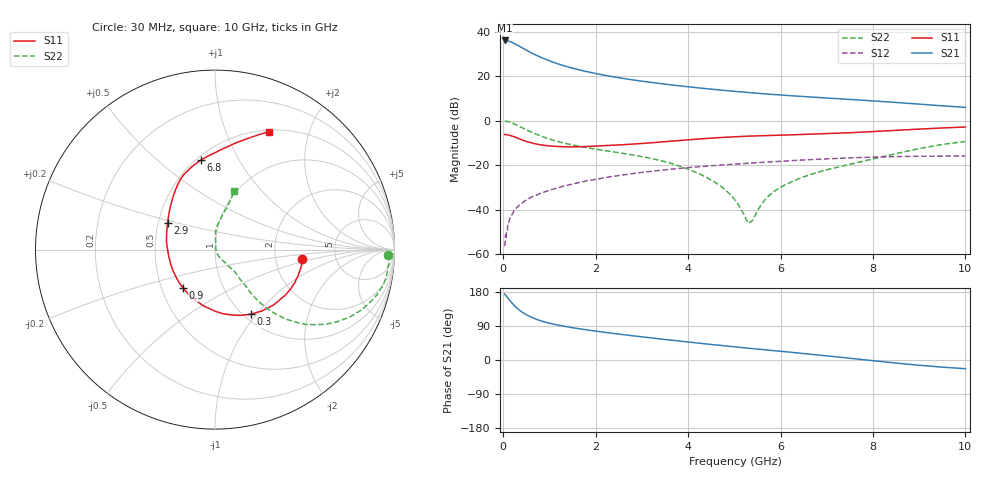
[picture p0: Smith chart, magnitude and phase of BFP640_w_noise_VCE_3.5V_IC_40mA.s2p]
! (c) 2013  Infineon Technologies AG, Munich
! Infineon Technologies  Discrete & RF Semiconductors
! BFP640
! VCE =  3.5 V,  IC =  40 mA
! Common Emitter S-Parameters:  Apr 2013
# GHz  S  MA  R  50
!  f  S11  S21  S12  S22
! GHz  MAG  ANG  MAG  ANG  MAG  ANG  MAG  ANG
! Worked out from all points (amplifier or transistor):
!   99 points, 30 MHz to 10 GHz, reference 50 ohm
!   highest |S21| = 36.2 dB at 30 MHz (marker M1)
!   |S21| within 3 dB of that: start of sweep to 384.1 MHz
!   unconditionally stable (mu >= 1): 1.898 GHz to end of sweep
!   at 350 MHz: K = 0.45, MSG = 35.7 dB, |S12| = -37.9 dB
!   at 3.5 GHz: K = 1.06, MAG = 17.8 dB, |S12| = -22.1 dB
!   at 10 GHz: K = 1.06, MAG = 9.4 dB, |S12| = -15.9 dB
!   lowest NFmin = 1.25 dB at 450 MHz
!   S11 on the Smith chart (normalised r, x): 30 MHz: 2.85, -0.39; 300 MHz: 1.08, -0.93; 900 MHz: 0.64, -0.30; 2.9 GHz: 0.56, +0.18; 6.8 GHz: 0.53, +0.71; 10 GHz: 0.52, +1.42
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0.03  0.4879 -6.1  64.25 174.5  0.0015 93.3  0.9649 -1.7
0.08  0.4854 -17.7  63.44 166.7  0.0034 81.4  0.9662 -8.6
0.15  0.4657 -33.3  60.4 156.0  0.0064 79.3  0.9254 -17.2
0.2  0.4496 -43.2  57.47 149.0  0.0081 74.9  0.8842 -22.3
0.25  0.4307 -52.5  54.32 142.5  0.0101 73.4  0.8384 -26.7
0.3  0.4113 -61.1  50.9 136.8  0.0112 71.3  0.7911 -30.5
0.35  0.3922 -69.2  47.59 131.7  0.0127 69.4  0.7457 -33.9
0.45  0.3583 -83.6  41.6 123.0  0.0153 68.1  0.6624 -39.1
0.6  0.32 -101.5  34.22 113.3  0.0189 66.3  0.5596 -44.1
0.7  0.3013 -112.1  30.36 108.2  0.0206 65.1  0.5047 -46.3
0.9  0.278 -129.7  24.55 100.3  0.0252 64.3  0.4196 -48.9
1.2  0.2627 -150.4  18.87 91.7  0.0313 63.1  0.3371 -50.4
1.7  0.2611 -174.6  13.56 81.4  0.042 60.5  0.2598 -49.7
2.2  0.2755 168.7  10.57 73.0  0.0523 57.2  0.2126 -49.7
2.9  0.3031 150.8  8.056 62.6  0.0666 51.9  0.1628 -48.4
3.4  0.3317 140.1  6.875 55.6  0.0766 47.5  0.1268 -50.2
5.1  0.4401 115.2  4.507 33.6  0.107 32.6  0.0123 -56.4
5.3  0.4492 113.2  4.327 31.2  0.1103 30.9  0.0049 -9.0
6.7  0.5009 99.9  3.403 14.6  0.134 18.4  0.0641 87.1
6.8  0.5053 98.7  3.349 13.4  0.1356 17.4  0.0685 87.3
8.5  0.6083 78.6  2.582 -8.1  0.1561 0.2  0.1818 79.0
10  0.7224 65.5  2.003 -23.0  0.1609 -11.9  0.3415 71.9
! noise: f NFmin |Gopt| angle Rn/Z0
0.45  1.25  0.25  -170  0.05
0.9  1.25  0.28  -159  0.07
1.5  1.26  0.31  -145  0.09
1.9  1.29  0.32  222  0.12
2.4  1.34  0.33  -124  0.14
3.5  1.46  0.38  -107  0.17
5.5  1.67  0.42  -91  0.26
10  2.15  0.63  -49  0.74
